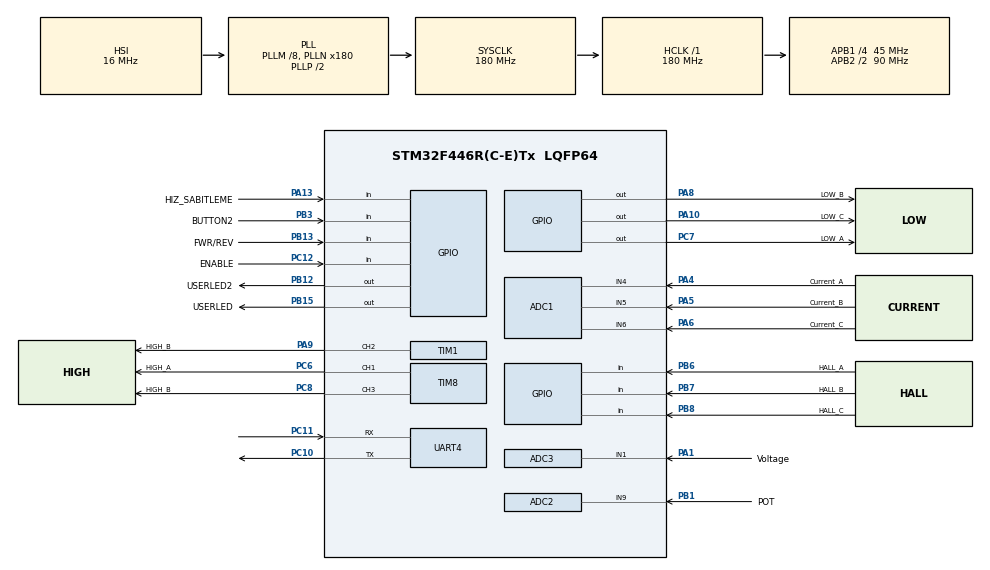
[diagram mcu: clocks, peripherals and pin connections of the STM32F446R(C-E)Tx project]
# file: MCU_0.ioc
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ADC1.Channel-0\#ChannelRegularConversion=ADC_CHANNEL_4
ADC1.NbrOfConversionFlag=1
ADC1.Rank-0\#ChannelRegularConversion=1
ADC1.SamplingTime-0\#ChannelRegularConversion=ADC_SAMPLETIME_3CYCLES
ADC1.master=1
ADC2.Channel-0\#ChannelRegularConversion=ADC_CHANNEL_9
ADC2.NbrOfConversionFlag=1
ADC2.Rank-0\#ChannelRegularConversion=1
ADC2.SamplingTime-0\#ChannelRegularConversion=ADC_SAMPLETIME_3CYCLES
ADC3.Channel-0\#ChannelRegularConversion=ADC_CHANNEL_1
ADC3.NbrOfConversionFlag=1
ADC3.Rank-0\#ChannelRegularConversion=1
ADC3.SamplingTime-0\#ChannelRegularConversion=ADC_SAMPLETIME_3CYCLES
Mcu.Family=STM32F4
Mcu.Name=STM32F446R(C-E)Tx
Mcu.Package=LQFP64
NVIC.PriorityGroup=NVIC_PRIORITYGROUP_4
NVIC.UART4_IRQn=true\:0\:0\:false\:false\:true\:true\:true\:true
PA1.GPIO_Label=Voltage
PA1.Signal=ADCx_IN1
PA10.GPIO_Label=LOW_C
PA10.Signal=GPIO_Output
PA13.GPIO_Label=HIZ_SABITLEME
PA13.Signal=GPIO_Input
PA4.GPIO_Label=Current_A
PA4.Signal=ADCx_IN4
PA5.GPIO_Label=Current_B
PA5.Signal=ADCx_IN5
PA6.GPIO_Label=Current_C
PA6.Signal=ADCx_IN6
PA8.GPIO_Label=LOW_B
PA8.Signal=GPIO_Output
PA9.GPIO_Label=HIGH_B
PA9.Signal=S_TIM1_CH2
PB1.GPIO_Label=POT
PB1.Signal=ADCx_IN9
PB12.GPIO_Label=USERLED2
PB12.Signal=GPIO_Output
PB13.GPIO_Label=FWR/REV
PB13.Signal=GPIO_Input
PB15.GPIO_Label=USERLED
PB15.Signal=GPIO_Output
PB3.GPIO_Label=BUTTON2
PB3.Signal=GPIO_Input
PB6.GPIO_Label=HALL_A
PB6.Signal=GPIO_Input
PB7.GPIO_Label=HALL_B
PB7.Signal=GPIO_Input
PB8.GPIO_Label=HALL_C
PB8.Signal=GPIO_Input
PC10.Mode=Asynchronous
PC10.Signal=UART4_TX
PC11.Mode=Asynchronous
PC11.Signal=UART4_RX
PC12.GPIO_Label=ENABLE
PC12.Signal=GPIO_Input
PC6.GPIO_Label=HIGH_A
PC6.Signal=S_TIM8_CH1
PC7.GPIO_Label=LOW_A
PC7.Signal=GPIO_Output
PC8.GPIO_Label=HIGH_B
PC8.Signal=S_TIM8_CH3
ProjectManager.HeapSize=0x200
ProjectManager.StackSize=0x400
ProjectManager.TargetToolchain=STM32CubeIDE
RCC.AHBFreq_Value=180000000
RCC.APB1CLKDivider=RCC_HCLK_DIV4
RCC.APB1Freq_Value=45000000
RCC.APB1TimFreq_Value=90000000
RCC.APB2CLKDivider=RCC_HCLK_DIV2
RCC.APB2Freq_Value=90000000
RCC.APB2TimFreq_Value=180000000
RCC.CortexFreq_Value=180000000
RCC.HCLKFreq_Value=180000000
RCC.PLLM=8
RCC.PLLN=180
RCC.SYSCLKFreq_VALUE=180000000
RCC.SYSCLKSource=RCC_SYSCLKSOURCE_PLLCLK
RCC.USBFreq_Value=180000000
RCC.VCOOutputFreq_Value=360000000
SH.ADCx_IN1.0=ADC3_IN1,IN1
SH.ADCx_IN4.0=ADC1_IN4,IN4
SH.ADCx_IN5.0=ADC1_IN5,IN5
SH.ADCx_IN6.0=ADC1_IN6,IN6
SH.ADCx_IN9.0=ADC2_IN9,IN9
SH.S_TIM1_CH2.0=TIM1_CH2,Output Compare2 CH2
SH.S_TIM8_CH1.0=TIM8_CH1,Output Compare1 CH1
SH.S_TIM8_CH3.0=TIM8_CH3,Output Compare3 CH3
TIM1.Channel-Output\ Compare2\ CH2=TIM_CHANNEL_2
TIM8.Channel-Output\ Compare1\ CH1=TIM_CHANNEL_1
TIM8.Channel-Output\ Compare3\ CH3=TIM_CHANNEL_3
UART4.VirtualMode=Asynchronous
VP_TIM1_VS_ClockSourceINT.Mode=Internal
VP_TIM5_VS_ClockSourceINT.Mode=Internal
VP_TIM8_VS_ClockSourceINT.Mode=Internal
board=custom

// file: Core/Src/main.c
/* USER CODE BEGIN Header */
/**
  ******************************************************************************
  * @file           : main.c
  * @brief          : Main program body
  ******************************************************************************
  * @attention
  *
  * Copyright (c) 2025 STMicroelectronics.
  * All rights reserved.
  *
  * This software is licensed under terms that can be found in the LICENSE file
  * in the root directory of this software component.
  * If no LICENSE file comes with this software, it is provided AS-IS.
  *
  ******************************************************************************
  */
/* USER CODE END Header */
#include "main.h"

/* USER CODE BEGIN Includes */
#include "stdint.h"
#include "stdio.h"
/* USER CODE END Includes */

/* USER CODE BEGIN PTD */
typedef struct{
	uint8_t enable; // 0 -> enable on, 1 -> enable off
	uint8_t forward;	// 0 -> forward, 1 -> reverse
	uint8_t pot; 	// 0 -> pot on, 1 -> pot off
	uint8_t current; //0 -> system on, 1 -> system off

	uint8_t system; // 0 -> system on, 1 -> system off
	uint8_t moving; // 1 -> motor running, 0 -> motor stop
} Status_TypeDef;

typedef struct{
	uint32_t Current_Adc[3]; //All Phase Current Reading Buffer for ADC DMA.
	float F_Current_A; // Phase A Current Value.
	float F_Current_B; // Phase B Current Value.
	float F_Current_C; // Phase C Current Value.
} Current_TypeDef;

typedef struct{
	float F_Rpm; // Motor RPM Value.
	int I_Speed_Kmh; //Vehicle Speed Value Km/h.
	 uint8_t Motor_States; // Motor state. Between 0-6.
	 uint8_t Motor_States_Last; // Motor Last State. Between 0-6.
} Motor_TypeDef;

typedef struct{
//SPEED COUNTERS
	int Turn_Present; //Rotor present turns value.
	int Turn_Last; //Rotor last turns value.
	double Turn_Gap; //Rotor present and last turns gap.
	int StateChange_Counter; //Check for Rotor each states change.
	int Rpm_Counter; //If Rotor states changes rpm counter = 0.
/******************************************************************/
}Count_TypeDef;

typedef struct{
	uint32_t CCR; //Duty CCR value.
	uint32_t Duty_Max; // Maximum System Duty.
	uint32_t Duty_Perc; // Duty Percentage.
	float F_Duty;
	int I_Duty;
	uint16_t ADC_Value; //ADC 16-bit Value.
} Duty_TypeDef;

typedef struct{
	uint8_t Hall_A; // Hall Efect of A Value.
	uint8_t Hall_B; // Hall Efect of B Value.
	uint8_t Hall_C; // Hall Efect of C Value.
} Hall_TypeDef;

/* USER CODE END PTD */

/* USER CODE BEGIN PD */
#define VREF 3.3
/* USER CODE END PD */

ADC_HandleTypeDef hadc1;
ADC_HandleTypeDef hadc2;
ADC_HandleTypeDef hadc3;

TIM_HandleTypeDef htim1;
TIM_HandleTypeDef htim5;
TIM_HandleTypeDef htim8;

UART_HandleTypeDef huart4;

/* USER CODE BEGIN PV */
Status_TypeDef sStatus_TypeDef;
Motor_TypeDef sMotor_TypeDef;
Current_TypeDef sCurrent_TypeDef;
Count_TypeDef sCount_TypeDef;
Duty_TypeDef sDuty_TypeDef;
Hall_TypeDef sHall_TypeDef;

Status_TypeDef sStatus_TypeDef = {
		.current = 1,
		.moving = 0,
};

Count_TypeDef sCount_TypeDef = {
		.StateChange_Counter = 0,
		.Rpm_Counter = 0,
};
Duty_TypeDef sDuty_TypeDef = {
		.CCR = 1000,
		.Duty_Perc = 80,

};
int S_Speed;
/* USER CODE END PV */

void SystemClock_Config(void);
static void MX_GPIO_Init(void);
static void MX_ADC1_Init(void);
static void MX_ADC2_Init(void);
static void MX_ADC3_Init(void);
static void MX_TIM1_Init(void);
static void MX_TIM8_Init(void);
static void MX_UART4_Init(void);
static void MX_TIM5_Init(void);
/* USER CODE BEGIN PFP */
void Main_Code(Status_TypeDef *status); // All System and Read Functions.

void System_Control(Status_TypeDef *status);
void Enable_ReadControl(Status_TypeDef *status); // Enable Control and Read Functions.
void Forward_ReadControl(Status_TypeDef *status); // Forward/Reverse Control and Read Functions.
void Current_ReadControl(Current_TypeDef *cr); // Current Control and Read Functions.
void Pot_ReadControl(Status_TypeDef *status, Duty_TypeDef *duty); // Pot Control and Read Functions.

void Duty_Windup(Status_TypeDef *status, Duty_TypeDef *pot); // Control and Set Duty Value According to Maximum, Minimum and Current(not I) Values.
void Phase_Current_Values(Status_TypeDef *status, Current_TypeDef *cr); //Read Per Phase ADC Bit and run ACS.

void Hall_Read(Hall_TypeDef *hall); // Hall Efect Read for Rotor Position.
void Hall_States(Hall_TypeDef *hall, Motor_TypeDef *motor); // Convert Halls Binary Value.
void Motor_States(uint8_t H_A, uint8_t H_B, uint8_t H_C, uint8_t L_A, uint8_t L_B, uint8_t L_C); // Set MOSFETs PWM for all Phase.

void Motor_Clocwise(Motor_TypeDef *motor); // Motor moves Clockwise way.
void Motor_CClockwise(Motor_TypeDef *motor); // Motor moves Counter Clockwise way.

void Motor_Rpm_Calculator(); // Calculations for Motor RPM and Control Speed.
float Speed_for_Kmh(float rpm, float wheel_diameter); //RPM to Km/h Calculator.

void System_Led(Status_TypeDef *status);
void System_Led2(Status_TypeDef *status);

float ACS758LCB_100B(float Vcc, uint32_t adc);
/* USER CODE END PFP */

int main(void)
{

  /* MCU Configuration--------------------------------------------------------*/

  /* Reset of all peripherals, Initializes the Flash interface and the Systick. */
  HAL_Init();

  /* Configure the system clock */
  SystemClock_Config();

  /* Initialize all configured peripherals */
  MX_GPIO_Init();
  MX_ADC1_Init();
  MX_ADC2_Init();
  MX_ADC3_Init();
  MX_TIM1_Init();
  MX_TIM8_Init();
  MX_UART4_Init();
  MX_TIM5_Init();
  /* USER CODE BEGIN 2 */
  Motor_States(0, 0, 0, 0, 0, 0);

  Enable_ReadControl(&sStatus_TypeDef);
  Current_ReadControl(&sCurrent_TypeDef);

  Pot_ReadControl(&sStatus_TypeDef, &sDuty_TypeDef);
  Duty_Windup(&sStatus_TypeDef, &sDuty_TypeDef);

  sDuty_TypeDef.Duty_Max = (sDuty_TypeDef.CCR * sDuty_TypeDef.Duty_Perc) / 100;
  sStatus_TypeDef.system = 0;//sStatus_TypeDef.enable | sStatus_TypeDef.current;

  HAL_TIM_Base_Start(&htim1);
  HAL_TIM_Base_Start(&htim5);
  HAL_TIM_Base_Start(&htim8);
  /* USER CODE END 2 */

  /* Infinite loop */
  while (1)
  {

    /* USER CODE BEGIN 3 */
	  Phase_Current_Values(&sStatus_TypeDef, &sCurrent_TypeDef);
	  System_Control(&sStatus_TypeDef);
	  if(sStatus_TypeDef.system == 0){
		  Main_Code(&sStatus_TypeDef);
		  S_Speed = Speed_for_Kmh(sMotor_TypeDef.F_Rpm, 0.56);
	  }
	//  System_Led(&sStatus_TypeDef);
  }
  /* USER CODE END 3 */
}

void SystemClock_Config(void)
{
  RCC_OscInitTypeDef RCC_OscInitStruct = {0};
  RCC_ClkInitTypeDef RCC_ClkInitStruct = {0};

  /** Configure the main internal regulator output voltage
  */
  __HAL_RCC_PWR_CLK_ENABLE();
  __HAL_PWR_VOLTAGESCALING_CONFIG(PWR_REGULATOR_VOLTAGE_SCALE1);

  /** Initializes the RCC Oscillators according to the specified parameters
  * in the RCC_OscInitTypeDef structure.
  */
  RCC_OscInitStruct.OscillatorType = RCC_OSCILLATORTYPE_HSI;
  RCC_OscInitStruct.HSIState = RCC_HSI_ON;
  RCC_OscInitStruct.HSICalibrationValue = RCC_HSICALIBRATION_DEFAULT;
  RCC_OscInitStruct.PLL.PLLState = RCC_PLL_ON;
  RCC_OscInitStruct.PLL.PLLSource = RCC_PLLSOURCE_HSI;
  RCC_OscInitStruct.PLL.PLLM = 8;
  RCC_OscInitStruct.PLL.PLLN = 180;
  RCC_OscInitStruct.PLL.PLLP = RCC_PLLP_DIV2;
  RCC_OscInitStruct.PLL.PLLQ = 2;
  RCC_OscInitStruct.PLL.PLLR = 2;
  if (HAL_RCC_OscConfig(&RCC_OscInitStruct) != HAL_OK)
  {
    Error_Handler();
  }

  /** Activate the Over-Drive mode
  */
  if (HAL_PWREx_EnableOverDrive() != HAL_OK)
  {
    Error_Handler();
  }

  /** Initializes the CPU, AHB and APB buses clocks
  */
  RCC_ClkInitStruct.ClockType = RCC_CLOCKTYPE_HCLK|RCC_CLOCKTYPE_SYSCLK
                              |RCC_CLOCKTYPE_PCLK1|RCC_CLOCKTYPE_PCLK2;
  RCC_ClkInitStruct.SYSCLKSource = RCC_SYSCLKSOURCE_PLLCLK;
  RCC_ClkInitStruct.AHBCLKDivider = RCC_SYSCLK_DIV1;
  RCC_ClkInitStruct.APB1CLKDivider = RCC_HCLK_DIV4;
  RCC_ClkInitStruct.APB2CLKDivider = RCC_HCLK_DIV2;

  if (HAL_RCC_ClockConfig(&RCC_ClkInitStruct, FLASH_LATENCY_5) != HAL_OK)
  {
    Error_Handler();
  }
}

static void MX_ADC1_Init(void)
{

  ADC_ChannelConfTypeDef sConfig = {0};

  /** Configure the global features of the ADC (Clock, Resolution, Data Alignment and number of conversion)
  */
  hadc1.Instance = ADC1;
  hadc1.Init.ClockPrescaler = ADC_CLOCK_SYNC_PCLK_DIV4;
  hadc1.Init.Resolution = ADC_RESOLUTION_12B;
  hadc1.Init.ScanConvMode = DISABLE;
  hadc1.Init.ContinuousConvMode = DISABLE;
  hadc1.Init.DiscontinuousConvMode = DISABLE;
  hadc1.Init.ExternalTrigConvEdge = ADC_EXTERNALTRIGCONVEDGE_NONE;
  hadc1.Init.ExternalTrigConv = ADC_SOFTWARE_START;
  hadc1.Init.DataAlign = ADC_DATAALIGN_RIGHT;
  hadc1.Init.NbrOfConversion = 1;
  hadc1.Init.DMAContinuousRequests = DISABLE;
  hadc1.Init.EOCSelection = ADC_EOC_SINGLE_CONV;
  if (HAL_ADC_Init(&hadc1) != HAL_OK)
  {
    Error_Handler();
  }

  /** Configure for the selected ADC regular channel its corresponding rank in the sequencer and its sample time.
  */
  sConfig.Channel = ADC_CHANNEL_4;
  sConfig.Rank = 1;
  sConfig.SamplingTime = ADC_SAMPLETIME_3CYCLES;
  if (HAL_ADC_ConfigChannel(&hadc1, &sConfig) != HAL_OK)
  {
    Error_Handler();
  }

}

static void MX_ADC2_Init(void)
{

  ADC_ChannelConfTypeDef sConfig = {0};

  /** Configure the global features of the ADC (Clock, Resolution, Data Alignment and number of conversion)
  */
  hadc2.Instance = ADC2;
  hadc2.Init.ClockPrescaler = ADC_CLOCK_SYNC_PCLK_DIV4;
  hadc2.Init.Resolution = ADC_RESOLUTION_12B;
  hadc2.Init.ScanConvMode = DISABLE;
  hadc2.Init.ContinuousConvMode = DISABLE;
  hadc2.Init.DiscontinuousConvMode = DISABLE;
  hadc2.Init.ExternalTrigConvEdge = ADC_EXTERNALTRIGCONVEDGE_NONE;
  hadc2.Init.ExternalTrigConv = ADC_SOFTWARE_START;
  hadc2.Init.DataAlign = ADC_DATAALIGN_RIGHT;
  hadc2.Init.NbrOfConversion = 1;
  hadc2.Init.DMAContinuousRequests = DISABLE;
  hadc2.Init.EOCSelection = ADC_EOC_SINGLE_CONV;
  if (HAL_ADC_Init(&hadc2) != HAL_OK)
  {
    Error_Handler();
  }

  /** Configure for the selected ADC regular channel its corresponding rank in the sequencer and its sample time.
  */
  sConfig.Channel = ADC_CHANNEL_9;
  sConfig.Rank = 1;
  sConfig.SamplingTime = ADC_SAMPLETIME_3CYCLES;
  if (HAL_ADC_ConfigChannel(&hadc2, &sConfig) != HAL_OK)
  {
    Error_Handler();
  }

}

static void MX_ADC3_Init(void)
{

  ADC_ChannelConfTypeDef sConfig = {0};

  /** Configure the global features of the ADC (Clock, Resolution, Data Alignment and number of conversion)
  */
  hadc3.Instance = ADC3;
  hadc3.Init.ClockPrescaler = ADC_CLOCK_SYNC_PCLK_DIV4;
  hadc3.Init.Resolution = ADC_RESOLUTION_12B;
  hadc3.Init.ScanConvMode = DISABLE;
  hadc3.Init.ContinuousConvMode = DISABLE;
  hadc3.Init.DiscontinuousConvMode = DISABLE;
  hadc3.Init.ExternalTrigConvEdge = ADC_EXTERNALTRIGCONVEDGE_NONE;
  hadc3.Init.ExternalTrigConv = ADC_SOFTWARE_START;
  hadc3.Init.DataAlign = ADC_DATAALIGN_RIGHT;
  hadc3.Init.NbrOfConversion = 1;
  hadc3.Init.DMAContinuousRequests = DISABLE;
  hadc3.Init.EOCSelection = ADC_EOC_SINGLE_CONV;
  if (HAL_ADC_Init(&hadc3) != HAL_OK)
  {
    Error_Handler();
  }

  /** Configure for the selected ADC regular channel its corresponding rank in the sequencer and its sample time.
  */
  sConfig.Channel = ADC_CHANNEL_1;
  sConfig.Rank = 1;
  sConfig.SamplingTime = ADC_SAMPLETIME_3CYCLES;
  if (HAL_ADC_ConfigChannel(&hadc3, &sConfig) != HAL_OK)
  {
    Error_Handler();
  }

}

static void MX_TIM1_Init(void)
{

  TIM_ClockConfigTypeDef sClockSourceConfig = {0};
  TIM_MasterConfigTypeDef sMasterConfig = {0};
  TIM_OC_InitTypeDef sConfigOC = {0};
  TIM_BreakDeadTimeConfigTypeDef sBreakDeadTimeConfig = {0};

  htim1.Instance = TIM1;
  htim1.Init.Prescaler = 0;
  htim1.Init.CounterMode = TIM_COUNTERMODE_UP;
  htim1.Init.Period = 65535;
  htim1.Init.ClockDivision = TIM_CLOCKDIVISION_DIV1;
  htim1.Init.RepetitionCounter = 0;
  htim1.Init.AutoReloadPreload = TIM_AUTORELOAD_PRELOAD_DISABLE;
  if (HAL_TIM_Base_Init(&htim1) != HAL_OK)
  {
    Error_Handler();
  }
  sClockSourceConfig.ClockSource = TIM_CLOCKSOURCE_INTERNAL;
  if (HAL_TIM_ConfigClockSource(&htim1, &sClockSourceConfig) != HAL_OK)
  {
    Error_Handler();
  }
  if (HAL_TIM_OC_Init(&htim1) != HAL_OK)
  {
    Error_Handler();
  }
  sMasterConfig.MasterOutputTrigger = TIM_TRGO_RESET;
  sMasterConfig.MasterSlaveMode = TIM_MASTERSLAVEMODE_DISABLE;
  if (HAL_TIMEx_MasterConfigSynchronization(&htim1, &sMasterConfig) != HAL_OK)
  {
    Error_Handler();
  }
  sConfigOC.OCMode = TIM_OCMODE_TIMING;
  sConfigOC.Pulse = 0;
  sConfigOC.OCPolarity = TIM_OCPOLARITY_HIGH;
  sConfigOC.OCNPolarity = TIM_OCNPOLARITY_HIGH;
  sConfigOC.OCFastMode = TIM_OCFAST_DISABLE;
  sConfigOC.OCIdleState = TIM_OCIDLESTATE_RESET;
  sConfigOC.OCNIdleState = TIM_OCNIDLESTATE_RESET;
  if (HAL_TIM_OC_ConfigChannel(&htim1, &sConfigOC, TIM_CHANNEL_2) != HAL_OK)
  {
    Error_Handler();
  }
  sBreakDeadTimeConfig.OffStateRunMode = TIM_OSSR_DISABLE;
  sBreakDeadTimeConfig.OffStateIDLEMode = TIM_OSSI_DISABLE;
  sBreakDeadTimeConfig.LockLevel = TIM_LOCKLEVEL_OFF;
  sBreakDeadTimeConfig.DeadTime = 0;
  sBreakDeadTimeConfig.BreakState = TIM_BREAK_DISABLE;
  sBreakDeadTimeConfig.BreakPolarity = TIM_BREAKPOLARITY_HIGH;
  sBreakDeadTimeConfig.AutomaticOutput = TIM_AUTOMATICOUTPUT_DISABLE;
  if (HAL_TIMEx_ConfigBreakDeadTime(&htim1, &sBreakDeadTimeConfig) != HAL_OK)
  {
    Error_Handler();
  }
  HAL_TIM_MspPostInit(&htim1);

}

static void MX_TIM5_Init(void)
{

  TIM_ClockConfigTypeDef sClockSourceConfig = {0};
  TIM_MasterConfigTypeDef sMasterConfig = {0};

  htim5.Instance = TIM5;
  htim5.Init.Prescaler = 0;
  htim5.Init.CounterMode = TIM_COUNTERMODE_UP;
  htim5.Init.Period = 4294967295;
  htim5.Init.ClockDivision = TIM_CLOCKDIVISION_DIV1;
  htim5.Init.AutoReloadPreload = TIM_AUTORELOAD_PRELOAD_DISABLE;
  if (HAL_TIM_Base_Init(&htim5) != HAL_OK)
  {
    Error_Handler();
  }
  sClockSourceConfig.ClockSource = TIM_CLOCKSOURCE_INTERNAL;
  if (HAL_TIM_ConfigClockSource(&htim5, &sClockSourceConfig) != HAL_OK)
  {
    Error_Handler();
  }
  sMasterConfig.MasterOutputTrigger = TIM_TRGO_RESET;
  sMasterConfig.MasterSlaveMode = TIM_MASTERSLAVEMODE_DISABLE;
  if (HAL_TIMEx_MasterConfigSynchronization(&htim5, &sMasterConfig) != HAL_OK)
  {
    Error_Handler();
  }

}

static void MX_TIM8_Init(void)
{

  TIM_ClockConfigTypeDef sClockSourceConfig = {0};
  TIM_MasterConfigTypeDef sMasterConfig = {0};
  TIM_OC_InitTypeDef sConfigOC = {0};
  TIM_BreakDeadTimeConfigTypeDef sBreakDeadTimeConfig = {0};

  htim8.Instance = TIM8;
  htim8.Init.Prescaler = 0;
  htim8.Init.CounterMode = TIM_COUNTERMODE_UP;
  htim8.Init.Period = 65535;
  htim8.Init.ClockDivision = TIM_CLOCKDIVISION_DIV1;
  htim8.Init.RepetitionCounter = 0;
  htim8.Init.AutoReloadPreload = TIM_AUTORELOAD_PRELOAD_DISABLE;
  if (HAL_TIM_Base_Init(&htim8) != HAL_OK)
  {
    Error_Handler();
  }
  sClockSourceConfig.ClockSource = TIM_CLOCKSOURCE_INTERNAL;
  if (HAL_TIM_ConfigClockSource(&htim8, &sClockSourceConfig) != HAL_OK)
  {
    Error_Handler();
  }
  if (HAL_TIM_OC_Init(&htim8) != HAL_OK)
  {
    Error_Handler();
  }
  sMasterConfig.MasterOutputTrigger = TIM_TRGO_RESET;
  sMasterConfig.MasterSlaveMode = TIM_MASTERSLAVEMODE_DISABLE;
  if (HAL_TIMEx_MasterConfigSynchronization(&htim8, &sMasterConfig) != HAL_OK)
  {
    Error_Handler();
  }
  sConfigOC.OCMode = TIM_OCMODE_TIMING;
  sConfigOC.Pulse = 0;
  sConfigOC.OCPolarity = TIM_OCPOLARITY_HIGH;
  sConfigOC.OCNPolarity = TIM_OCNPOLARITY_HIGH;
  sConfigOC.OCFastMode = TIM_OCFAST_DISABLE;
  sConfigOC.OCIdleState = TIM_OCIDLESTATE_RESET;
  sConfigOC.OCNIdleState = TIM_OCNIDLESTATE_RESET;
  if (HAL_TIM_OC_ConfigChannel(&htim8, &sConfigOC, TIM_CHANNEL_1) != HAL_OK)
  {
    Error_Handler();
  }
  if (HAL_TIM_OC_ConfigChannel(&htim8, &sConfigOC, TIM_CHANNEL_3) != HAL_OK)
  {
    Error_Handler();
  }
  sBreakDeadTimeConfig.OffStateRunMode = TIM_OSSR_DISABLE;
  sBreakDeadTimeConfig.OffStateIDLEMode = TIM_OSSI_DISABLE;
  sBreakDeadTimeConfig.LockLevel = TIM_LOCKLEVEL_OFF;
  sBreakDeadTimeConfig.DeadTime = 0;
  sBreakDeadTimeConfig.BreakState = TIM_BREAK_DISABLE;
  sBreakDeadTimeConfig.BreakPolarity = TIM_BREAKPOLARITY_HIGH;
  sBreakDeadTimeConfig.AutomaticOutput = TIM_AUTOMATICOUTPUT_DISABLE;
  if (HAL_TIMEx_ConfigBreakDeadTime(&htim8, &sBreakDeadTimeConfig) != HAL_OK)
  {
    Error_Handler();
  }
  HAL_TIM_MspPostInit(&htim8);

}

static void MX_UART4_Init(void)
{

  huart4.Instance = UART4;
  huart4.Init.BaudRate = 115200;
  huart4.Init.WordLength = UART_WORDLENGTH_8B;
  huart4.Init.StopBits = UART_STOPBITS_1;
  huart4.Init.Parity = UART_PARITY_NONE;
  huart4.Init.Mode = UART_MODE_TX_RX;
  huart4.Init.HwFlowCtl = UART_HWCONTROL_NONE;
  huart4.Init.OverSampling = UART_OVERSAMPLING_16;
  if (HAL_UART_Init(&huart4) != HAL_OK)
  {
    Error_Handler();
  }

}

static void MX_GPIO_Init(void)
{
  GPIO_InitTypeDef GPIO_InitStruct = {0};

  /* GPIO Ports Clock Enable */
  __HAL_RCC_GPIOA_CLK_ENABLE();
  __HAL_RCC_GPIOB_CLK_ENABLE();
  __HAL_RCC_GPIOC_CLK_ENABLE();

  /*Configure GPIO pin Output Level */
  HAL_GPIO_WritePin(GPIOB, USERLED2_Pin|USERLED_Pin, GPIO_PIN_RESET);

  /*Configure GPIO pin Output Level */
  HAL_GPIO_WritePin(LOW_A_GPIO_Port, LOW_A_Pin, GPIO_PIN_RESET);

  /*Configure GPIO pin Output Level */
  HAL_GPIO_WritePin(GPIOA, LOW_B_Pin|LOW_C_Pin, GPIO_PIN_RESET);

  /*Configure GPIO pins : USERLED2_Pin USERLED_Pin */
  GPIO_InitStruct.Pin = USERLED2_Pin|USERLED_Pin;
  GPIO_InitStruct.Mode = GPIO_MODE_OUTPUT_PP;
  GPIO_InitStruct.Pull = GPIO_NOPULL;
  GPIO_InitStruct.Speed = GPIO_SPEED_FREQ_LOW;
  HAL_GPIO_Init(GPIOB, &GPIO_InitStruct);

  /*Configure GPIO pins : FWR_REV_Pin BUTTON2_Pin HALL_A_Pin HALL_B_Pin
                           HALL_C_Pin */
  GPIO_InitStruct.Pin = FWR_REV_Pin|BUTTON2_Pin|HALL_A_Pin|HALL_B_Pin
                          |HALL_C_Pin;
  GPIO_InitStruct.Mode = GPIO_MODE_INPUT;
  GPIO_InitStruct.Pull = GPIO_NOPULL;
  HAL_GPIO_Init(GPIOB, &GPIO_InitStruct);

  /*Configure GPIO pin : LOW_A_Pin */
  GPIO_InitStruct.Pin = LOW_A_Pin;
  GPIO_InitStruct.Mode = GPIO_MODE_OUTPUT_PP;
  GPIO_InitStruct.Pull = GPIO_NOPULL;
  GPIO_InitStruct.Speed = GPIO_SPEED_FREQ_LOW;
  HAL_GPIO_Init(LOW_A_GPIO_Port, &GPIO_InitStruct);

  /*Configure GPIO pins : LOW_B_Pin LOW_C_Pin */
  GPIO_InitStruct.Pin = LOW_B_Pin|LOW_C_Pin;
  GPIO_InitStruct.Mode = GPIO_MODE_OUTPUT_PP;
  GPIO_InitStruct.Pull = GPIO_NOPULL;
  GPIO_InitStruct.Speed = GPIO_SPEED_FREQ_LOW;
  HAL_GPIO_Init(GPIOA, &GPIO_InitStruct);

  /*Configure GPIO pin : ENABLE_Pin */
  GPIO_InitStruct.Pin = ENABLE_Pin;
  GPIO_InitStruct.Mode = GPIO_MODE_INPUT;
  GPIO_InitStruct.Pull = GPIO_NOPULL;
  HAL_GPIO_Init(ENABLE_GPIO_Port, &GPIO_InitStruct);

}

/* USER CODE BEGIN 4 */
void Main_Code(Status_TypeDef *status){
	Hall_Read(&sHall_TypeDef);
	Hall_States(&sHall_TypeDef, &sMotor_TypeDef);
	Motor_Rpm_Calculator(&sMotor_TypeDef, &sCount_TypeDef);
	if((status->moving == 0) && (status->pot == 1)){
		Forward_ReadControl(&sStatus_TypeDef);
	}
	if(status->forward == 0){
		Motor_CClockwise(&sMotor_TypeDef);
	}
	else if(status->forward == 1){
		Motor_Clocwise(&sMotor_TypeDef);
	}
}

void System_Control(Status_TypeDef *status){
	status->system = status->enable | status->current;
	if(status->system == 0){
		Enable_ReadControl(&sStatus_TypeDef);
		Pot_ReadControl(&sStatus_TypeDef, &sDuty_TypeDef);
	}
	else if(status->system == 1){
		Motor_States(0, 0, 0, 0, 0, 0);
		sDuty_TypeDef.I_Duty = 0;
		Enable_ReadControl(&sStatus_TypeDef);
	}
}

/*
 * Enable Control and Read Functions.
 */
void Enable_ReadControl(Status_TypeDef *status){
	//If Enable Get 0 Switch Enable; If Enable Get 1 Switch Disable.
	status->enable = HAL_GPIO_ReadPin(ENABLE_GPIO_Port, ENABLE_Pin);
}

/*
 * Forward/Reverse Control and Read Functions.
 */
void Forward_ReadControl(Status_TypeDef *status){
	//If Forward Get 0 Switch Forward; If Forward Get 1 Switch Reverse.
	status->forward = HAL_GPIO_ReadPin(FWR_REV_GPIO_Port,FWR_REV_Pin);
}

/*
 * 	 Current Control and Read Functions.
 */
void Current_ReadControl(Current_TypeDef *cr){
	HAL_ADC_Start_DMA(&hadc1, cr->Current_Adc , sizeof(cr->Current_Adc));
}

/*
 * Read Per Phase ADC Bit and run ACS.
 */
void Phase_Current_Values(Status_TypeDef *status, Current_TypeDef *cr){
	cr->F_Current_A = ACS758LCB_100B(3.3, cr->Current_Adc[0]);
	cr->F_Current_B = ACS758LCB_100B(3.3, cr->Current_Adc[1]);
	cr->F_Current_C = ACS758LCB_100B(3.3, cr->Current_Adc[2]);
	if((cr->F_Current_A || cr->F_Current_B || cr->F_Current_C) > 0){
		status->current = 0;
	}else{
		status->current = 1;
	}
}

/*
 * Pot Control and Read Functions.
 */
void Pot_ReadControl(Status_TypeDef *status, Duty_TypeDef *duty){
	HAL_ADC_Start(&hadc2);
	duty->ADC_Value = HAL_ADC_GetValue(&hadc2);
	if(duty->ADC_Value < 10){
		status->pot = 1;
	} else {
		status->pot = 0;
	}
}

/*
 *  Control and Set Duty Value According to Maximum, Minimum and Current(not I) Values.
 */
void Duty_Windup(Status_TypeDef *status, Duty_TypeDef *pot){
	pot->F_Duty = (pot->CCR * pot->ADC_Value) / 4095.0f;
	pot->I_Duty = (float)pot->F_Duty;

	if(pot->I_Duty >= pot->Duty_Max){
		pot->I_Duty = pot->Duty_Max;
	}
	if(pot->I_Duty > 0){
		status->pot = 0;
	} else if(pot->I_Duty <= 0){
		status->pot = 1;
	}
}

/*
 * Hall Efect Read for Rotor Position.
 */
void Hall_Read(Hall_TypeDef *hall){
	hall->Hall_A = HAL_GPIO_ReadPin(HALL_A_GPIO_Port, HALL_A_Pin);
	hall->Hall_B = HAL_GPIO_ReadPin(HALL_B_GPIO_Port, HALL_B_Pin);
	hall->Hall_C = HAL_GPIO_ReadPin(HALL_C_GPIO_Port, HALL_C_Pin);

}

/*
 * Convert Halls Binary Value.
 */
void Hall_States(Hall_TypeDef *hall, Motor_TypeDef *motor){
	motor->Motor_States = (hall->Hall_A << 2) | (hall->Hall_B << 1) | (hall->Hall_C);
}

 /*
  *  Set MOSFETs PWM for all Phase.
  */
void Motor_States(uint8_t H_A, uint8_t H_B, uint8_t H_C, uint8_t L_A, uint8_t L_B, uint8_t L_C){
	TIM8->CCR1 = H_A;
	TIM8->CCR3 = H_B;
	TIM1->CCR2 = H_C;

	HAL_TIM_PWM_Start(&htim8, TIM_CHANNEL_1);
	HAL_TIM_PWM_Start(&htim8, TIM_CHANNEL_3);
	HAL_TIM_PWM_Start(&htim1, TIM_CHANNEL_2);

	HAL_GPIO_WritePin(GPIOC, GPIO_PIN_7, L_A);
	HAL_GPIO_WritePin(GPIOA, GPIO_PIN_8, L_B);
	HAL_GPIO_WritePin(GPIOA, GPIO_PIN_10, L_C);
}

/*
 * Motor moves Clockwise way.
 */
void Motor_Clocwise(Motor_TypeDef *motor){
	Pot_ReadControl(&sStatus_TypeDef, &sDuty_TypeDef);
	Duty_Windup(&sStatus_TypeDef, &sDuty_TypeDef);
	//Hall_States(&sHall_TypeDef, &sMotor_TypeDef);

	uint8_t motor_states = motor->Motor_States;
	int duty = sDuty_TypeDef.I_Duty;

	if(motor_states == 0b00000001){
		Motor_States(duty, 0, 0, 0, 1, 0); //HIGH A - LOW B
	}
	else if(motor_states == 0b00000010){
		Motor_States(duty, 0, 0, 0, 0, 1);//HIGH A - LOW C
	}
	else if(motor_states == 0b00000011){
		Motor_States(0, duty, 0, 0, 0, 1);//HIGH B - LOW C
	}
	else if(motor_states == 0b00000100){
		Motor_States(0, duty, 0, 1, 0, 0);//HIGH B - LOW A
	}
	else if(motor_states == 0b00000101){
		Motor_States(0, 0, duty, 1, 0, 0);//HIGH C - LOW A
	}
	else if(motor_states == 0b00000110){
		Motor_States(0, 0, duty, 0, 1, 0);//HIGH C - LOW B
	}
	else{
		Motor_States(0, 0, 0, 0, 0, 0);
	}
}

/*
 * 	 Motor moves Counter Clockwise way.
 */
void Motor_CClockwise(Motor_TypeDef *motor){
	Pot_ReadControl(&sStatus_TypeDef, &sDuty_TypeDef);
	Duty_Windup(&sStatus_TypeDef, &sDuty_TypeDef);
	//Hall_States(&sHall_TypeDef, &sMotor_TypeDef);

	uint8_t motor_states = motor->Motor_States;
	int duty = sDuty_TypeDef.I_Duty;

	if(motor_states == 0b00000001){
		Motor_States(0, duty, 0, 1, 0, 0); //HIGH B - LOW A
	}
	else if(motor_states == 0b00000010){
		Motor_States(0, 0, duty, 1, 0, 0); //HIGH C - LOW A
	}
	else if(motor_states == 0b00000011){
		Motor_States(0, 0, duty, 0, 1, 0); //HIGH C - LOW B
	}
	else if(motor_states == 0b00000100){
		Motor_States(duty, 0, 0, 0, 1, 0); //HIGH A - LOW B
	}
	else if(motor_states == 0b00000101){
		Motor_States(duty, 0, 0, 0, 0, 1); //HIGH A - LOW C
		}
	else if(motor_states == 0b00000110){
		Motor_States(0, duty, 0, 0, 0, 1); //HIGH B - LOW C
	}
	else{
		Motor_States(0, 0, 0, 0, 0, 0);
	}
}

/*
 * 	Calculations for Motor RPM.
 *
 */
void Motor_Rpm_Calculator(Motor_TypeDef *motor, Count_TypeDef *count){
	float second;
	Hall_Read(&sHall_TypeDef);
	Hall_States(&sHall_TypeDef, &sMotor_TypeDef);
	if(motor->Motor_States == motor->Motor_States_Last){
		count->Rpm_Counter++;
	}
	else if((motor->Motor_States_Last != 0) && (motor->Motor_States_Last != motor->Motor_States)){
		count->Rpm_Counter = 0;
		count->StateChange_Counter++;
		sStatus_TypeDef.moving = 1;
		if(motor->Motor_States_Last == 6){
			count->Turn_Present = TIM5->CNT;
			count->Turn_Gap = count->Turn_Present - count->Turn_Last;
			second =(1.0 / 1000000) * count->Turn_Gap;
			motor->F_Rpm = 60 / second;
			count->Turn_Last = count->Turn_Present;
			count->StateChange_Counter = 0;
		}
	}

	if(motor->F_Rpm <= 10){
		sStatus_TypeDef.moving = 0;
	}
	motor->Motor_States_Last = motor->Motor_States;
}

/*
 * RPM to Km/h Calculator.
 */
float Speed_for_Kmh(float rpm, float wheel_diameter){
	float area = wheel_diameter * 3.1415926535;
	float F_Speed = 0.0f;
	F_Speed = ((area * rpm) * 60) / 1000;
	return F_Speed;
}

void System_Led(Status_TypeDef *status){
	if(status->system == 1){
		HAL_GPIO_WritePin(USERLED_GPIO_Port, USERLED_Pin, 1);
	}
	else if(status->system == 0){
		HAL_GPIO_WritePin(USERLED_GPIO_Port, USERLED_Pin, 0);
	}
	if(status->pot == 0){
		HAL_GPIO_WritePin(USERLED2_GPIO_Port, USERLED2_Pin, 1);
	}
	else if(status->pot == 1){
		HAL_GPIO_WritePin(USERLED2_GPIO_Port, USERLED2_Pin, 0);
	}
}

float ACS758LCB_100B(float Vcc, uint32_t adc){
	float adc_value = adc;
	//float V0Q_val = 0.5; //5V & 3.3V
	float sens = 20.0;
	const float Factor = sens/1000;
	const float V0Q = Vcc / 2;
	float voltage = (adc_value * VREF) / 4095.0;
	const float cutoff_limit = 2.0; //İstenilen Akımdan sonrasını ölçmek için
	float cutoff = Factor / cutoff_limit;
	float current;
	current = (voltage - V0Q) / Factor;

	if(current < cutoff)
		current = 0;
	return current;

}
/* USER CODE END 4 */

void Error_Handler(void)
{
  __disable_irq();
  while (1)
  {
  }
}
